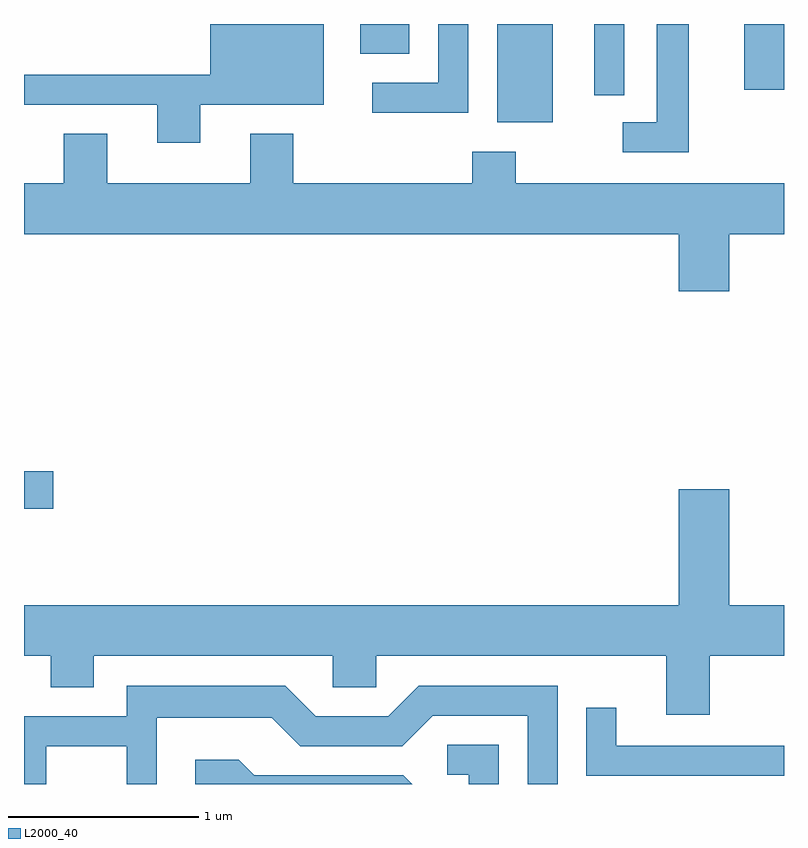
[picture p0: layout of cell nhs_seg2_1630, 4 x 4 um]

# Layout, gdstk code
import gdstk
lib = gdstk.Library(unit=1e-6, precision=1e-09)
def R(c, l, rs):  # rectangles x0, y0, x1, y1
    for r in rs: c.add(gdstk.rectangle(r[:2], r[2:], *l))
def P(c, l, *ps):  # polygons
    for p in ps: c.add(gdstk.Polygon(p, *l))
L2000_40 = (2000, 40)

nhs_seg2_1630 = lib.new_cell('nhs_seg2_1630')
R(nhs_seg2_1630, L2000_40, [(231.611,1111.251,231.764,1111.449), (234.101,1113.286,234.394,1113.802), (234.611,1113.428,234.769,1113.802), (235.401,1113.456,235.611,1113.802), (233.381,1113.646,233.639,1113.802)])
P(nhs_seg2_1630, L2000_40, [(232.539,1113.376),(233.189,1113.376),(233.189,1113.802),(232.591,1113.802),(232.591,1113.534),(231.611,1113.534),(231.611,1113.376),(232.311,1113.376),(232.311,1113.176),(232.539,1113.176)],
  [(235.109,1113.802),(234.941,1113.802),(234.941,1113.284),(234.763,1113.284),(234.763,1113.126),(235.109,1113.126)],
  [(233.949,1113.802),(233.791,1113.802),(233.791,1113.494),(233.443,1113.494),(233.443,1113.336),(233.949,1113.336)],
  [(235.324,1112.696),(235.611,1112.696),(235.611,1112.964),(234.199,1112.964),(234.199,1113.129),(233.971,1113.129),(233.971,1112.964),(233.029,1112.964),(233.029,1113.224),(232.801,1113.224),(232.801,1112.964),(232.049,1112.964),(232.049,1113.224),(231.821,1113.224),(231.821,1112.964),(231.611,1112.964),(231.611,1112.696),(235.056,1112.696),(235.056,1112.396),(235.324,1112.396)],
  [(235.219,1110.476),(235.611,1110.476),(235.611,1110.744),(235.324,1110.744),(235.324,1111.354),(235.056,1111.354),(235.056,1110.744),(231.611,1110.744),(231.611,1110.476),(231.751,1110.476),(231.751,1110.311),(231.979,1110.311),(231.979,1110.476),(233.236,1110.476),(233.236,1110.311),(233.464,1110.311),(233.464,1110.476),(234.991,1110.476),(234.991,1110.166),(235.219,1110.166)],
  [(231.729,1110.001),(232.151,1110.001),(232.151,1109.802),(232.309,1109.802),(232.309,1110.151),(232.914,1110.151),(233.064,1110.001),(233.602,1110.001),(233.762,1110.161),(234.261,1110.161),(234.261,1109.802),(234.419,1109.802),(234.419,1110.319),(233.689,1110.319),(233.529,1110.159),(233.147,1110.159),(232.987,1110.319),(232.151,1110.319),(232.151,1110.159),(231.611,1110.159),(231.611,1109.802),(231.729,1109.802)],
  [(235.611,1110.004),(234.729,1110.004),(234.729,1110.203),(234.571,1110.203),(234.571,1109.846),(235.611,1109.846)],
  [(234.109,1110.009),(233.838,1110.009),(233.838,1109.851),(233.951,1109.851),(233.951,1109.802),(234.109,1109.802)],
  [(233.607,1109.849),(232.822,1109.849),(232.742,1109.929),(232.513,1109.929),(232.513,1109.802),(233.654,1109.802)])

lib.write_gds('nhs_seg2_1630.gds')
